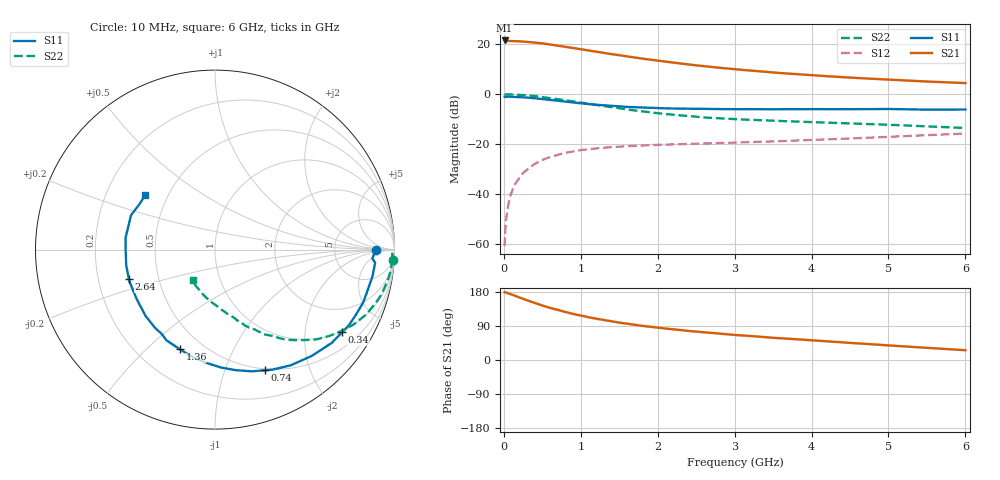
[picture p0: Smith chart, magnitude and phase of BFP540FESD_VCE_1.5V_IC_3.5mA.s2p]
! Infineon Technologies  Discrete & RF Semiconductors
! BFP540FESD
! VCE =  1.5 V,  IC =  3.5 mA
! Common Emitter S-Parameters:  Nov 2015
# GHz  S  MA  R  50
!  f  S11  S21  S12  S22
! GHz  MAG  ANG  MAG  ANG  MAG  ANG  MAG  ANG
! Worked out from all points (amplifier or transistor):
!   210 points, 10 MHz to 6 GHz, reference 50 ohm
!   highest |S21| = 21.5 dB at 10 MHz (marker M1)
!   |S21| within 3 dB of that: start of sweep to 894.2 MHz
!   unconditionally stable (mu >= 1): 2.983 GHz to end of sweep
!   at 185 MHz: K = 0.05, MSG = 27.8 dB, |S12| = -34.3 dB
!   at 1.52 GHz: K = 0.52, MSG = 18.2 dB, |S12| = -21.0 dB
!   at 6 GHz: K = 1.38, MAG = 6.4 dB, |S12| = -15.8 dB
!   S11 on the Smith chart (normalised r, x): 10 MHz: 18, -1; 340 MHz: 0.96, -3.09; 740 MHz: 0.48, -1.38; 1.36 GHz: 0.38, -0.64; 2.64 GHz: 0.33, -0.15; 6 GHz: 0.37, +0.30
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0.01  0.8943 -0.2  11.94 179.0  0.0009 90.7  0.9931 -3.4
0.02  0.8779 -3.3  11.52 178.7  0.002 94.0  0.9875 -1.3
0.045  0.8925 -4.4  11.64 176.9  0.0047 90.3  0.9892 -2.7
0.09  0.8908 -8.5  11.65 173.5  0.0097 84.0  0.988 -5.4
0.15  0.8796 -15.4  11.64 169.1  0.0159 82.0  0.9806 -9.0
0.2  0.8768 -19.6  11.49 165.0  0.0208 80.0  0.9707 -11.9
0.34  0.8445 -33.1  11.05 155.0  0.0342 72.0  0.9344 -19.8
0.5  0.8006 -47.8  10.45 143.9  0.0483 65.4  0.8783 -28.3
0.6  0.7707 -56.7  9.904 137.5  0.0549 61.0  0.8373 -32.8
0.74  0.727 -67.6  9.214 130.0  0.0633 55.6  0.7812 -38.7
0.8  0.7093 -73.0  8.937 126.5  0.0668 53.5  0.7557 -41.4
1.02  0.6528 -88.3  7.872 116.4  0.0764 47.4  0.6713 -48.7
1.2  0.6144 -100.7  7.088 109.0  0.0818 42.8  0.6086 -54.1
1.36  0.5884 -109.5  6.5 103.5  0.086 40.5  0.5593 -58.3
1.5  0.5733 -118.0  6.031 98.7  0.0889 38.0  0.5212 -61.7
1.7  0.549 -127.7  5.445 92.8  0.0923 35.8  0.472 -66.6
2.02  0.523 -141.7  4.669 84.7  0.0965 32.9  0.4128 -72.6
2.64  0.5073 -161.2  3.59 72.5  0.1031 30.5  0.3388 -83.4
3.1  0.5001 -172.3  3.072 64.8  0.1083 30.0  0.3113 -88.9
4.1  0.5014 170.7  2.347 50.6  0.1227 29.7  0.2723 -100.3
5.1  0.5019 156.0  1.927 37.2  0.1421 27.8  0.2406 -111.9
6  0.4935 141.8  1.67 25.8  0.1623 25.0  0.2103 -125.4
